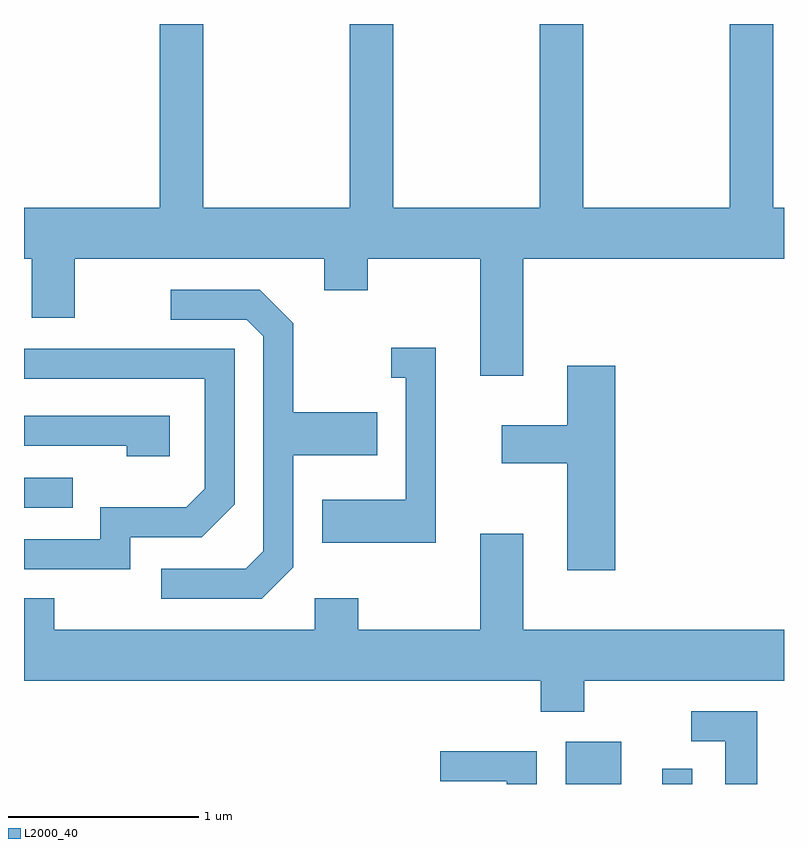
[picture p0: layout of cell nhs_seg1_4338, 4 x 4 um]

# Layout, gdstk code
import gdstk
lib = gdstk.Library(unit=1e-6, precision=1e-09)
def R(c, l, rs):  # rectangles x0, y0, x1, y1
    for r in rs: c.add(gdstk.rectangle(r[:2], r[2:], *l))
def P(c, l, *ps):  # polygons
    for p in ps: c.add(gdstk.Polygon(p, *l))
L2000_40 = (2000, 40)

nhs_seg1_4338 = lib.new_cell('nhs_seg1_4338')
R(nhs_seg1_4338, L2000_40, [(318.461,885.712,318.754,885.934), (318.971,885.712,319.129,885.793), (315.611,887.166,315.868,887.324)])
P(nhs_seg1_4338, L2000_40, [(318.239,888.476),(319.611,888.476),(319.611,888.744),(319.554,888.744),(319.554,889.712),(319.326,889.712),(319.326,888.744),(318.554,888.744),(318.554,889.712),(318.326,889.712),(318.326,888.744),(317.554,888.744),(317.554,889.712),(317.326,889.712),(317.326,888.744),(316.554,888.744),(316.554,889.712),(316.326,889.712),(316.326,888.744),(315.611,888.744),(315.611,888.476),(315.651,888.476),(315.651,888.166),(315.879,888.166),(315.879,888.476),(317.191,888.476),(317.191,888.311),(317.419,888.311),(317.419,888.476),(318.011,888.476),(318.011,887.861),(318.239,887.861)],
  [(317.029,886.854),(317.029,887.441),(317.469,887.441),(317.469,887.669),(317.029,887.669),(317.029,888.137),(316.852,888.314),(316.383,888.314),(316.383,888.156),(316.784,888.156),(316.871,888.069),(316.871,886.937),(316.779,886.844),(316.333,886.844),(316.333,886.686),(316.862,886.686)],
  [(317.779,888.009),(317.543,888.009),(317.543,887.851),(317.621,887.851),(317.621,887.209),(317.181,887.209),(317.181,886.981),(317.779,886.981)],
  [(316.169,887.011),(316.547,887.011),(316.719,887.184),(316.719,888.004),(315.611,888.004),(315.611,887.846),(316.561,887.846),(316.561,887.267),(316.464,887.169),(316.011,887.169),(316.011,886.999),(315.611,886.999),(315.611,886.841),(316.169,886.841)],
  [(318.724,887.914),(318.471,887.914),(318.471,887.599),(318.126,887.599),(318.126,887.401),(318.471,887.401),(318.471,886.836),(318.724,886.836)],
  [(316.379,887.649),(315.611,887.649),(315.611,887.491),(316.151,887.491),(316.151,887.436),(316.379,887.436)],
  [(318.559,886.256),(319.611,886.256),(319.611,886.524),(318.239,886.524),(318.239,887.029),(318.011,887.029),(318.011,886.524),(317.369,886.524),(317.369,886.689),(317.141,886.689),(317.141,886.524),(315.769,886.524),(315.769,886.689),(315.611,886.689),(315.611,886.256),(318.331,886.256),(318.331,886.091),(318.559,886.091)],
  [(319.469,886.094),(319.123,886.094),(319.123,885.936),(319.301,885.936),(319.301,885.712),(319.469,885.712)],
  [(318.309,885.884),(317.803,885.884),(317.803,885.726),(318.151,885.726),(318.151,885.712),(318.309,885.712)])

lib.write_gds('nhs_seg1_4338.gds')
